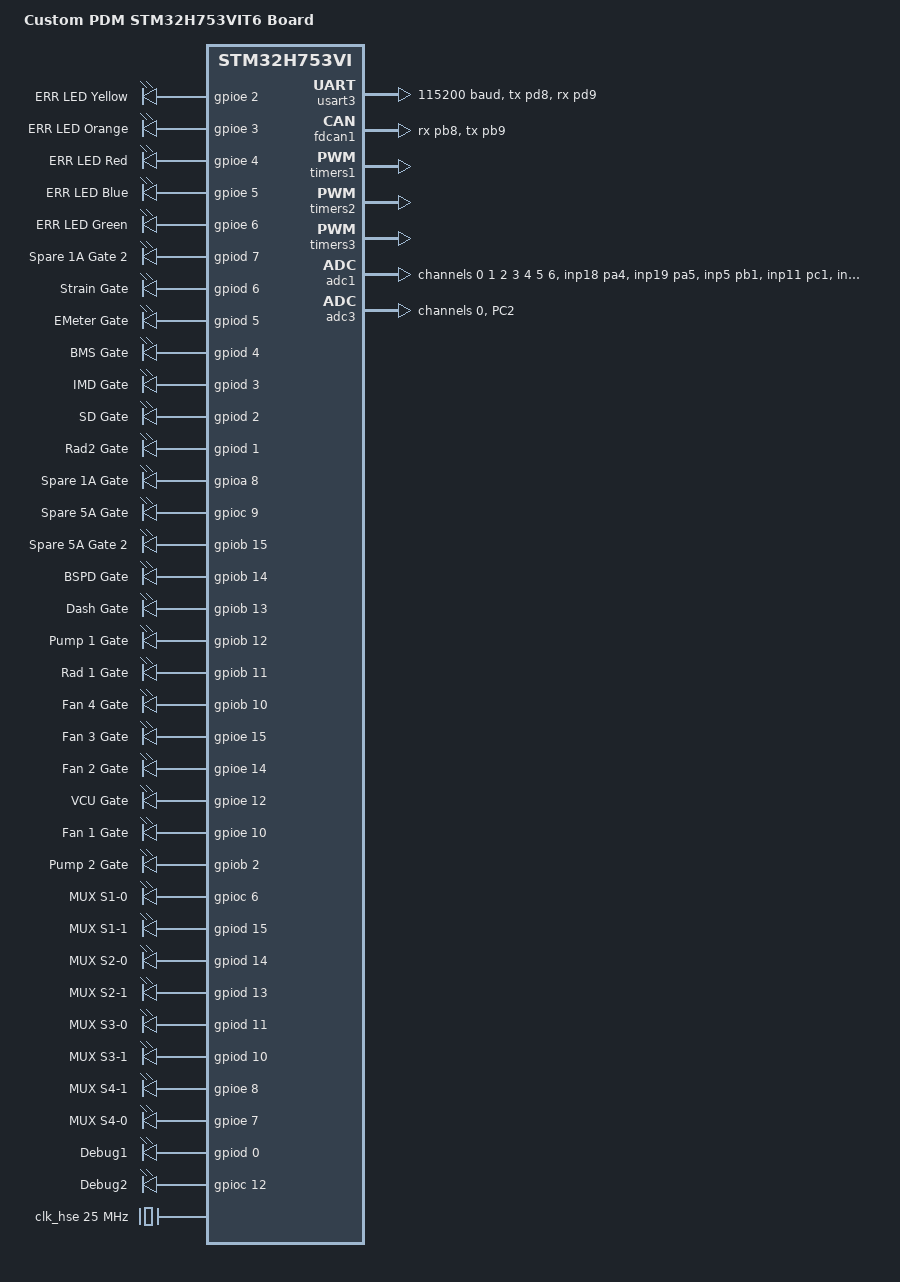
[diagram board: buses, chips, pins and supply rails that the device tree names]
/*
 * Copyright (c) 2025 PDM Team
 * SPDX-License-Identifier: Apache-2.0
 */

/dts-v1/;
#include <st/h7/stm32h753Xi.dtsi>
#include <st/h7/stm32h753zitx-pinctrl.dtsi>
#include <zephyr/dt-bindings/input/input-event-codes.h>

/ {
	model = "Custom PDM STM32H753VIT6 Board";
	compatible = "st,stm32h753vi";

	chosen {
		zephyr,console    = &usart3;
		zephyr,shell-uart = &usart3;
		zephyr,sram       = &sram0;
		zephyr,flash      = &flash0;
		zephyr,dtcm       = &dtcm;
		zephyr,canbus     = &fdcan1;
	};

	/* ------------------------------------------------------------------ */
	/* Status LEDs                                                          */
	/* ------------------------------------------------------------------ */
	leds {
		compatible = "gpio-leds";
		err_led_yellow: led_0 {
			gpios = <&gpioe 2 GPIO_ACTIVE_HIGH>;
			label = "ERR LED Yellow";
		};
		err_led_orange: led_1 {
			gpios = <&gpioe 3 GPIO_ACTIVE_HIGH>;
			label = "ERR LED Orange";
		};
		err_led_red: led_2 {
			gpios = <&gpioe 4 GPIO_ACTIVE_HIGH>;
			label = "ERR LED Red";
		};
		err_led_blue: led_3 {
			gpios = <&gpioe 5 GPIO_ACTIVE_HIGH>;
			label = "ERR LED Blue";
		};
		err_led_green: led_4 {
			gpios = <&gpioe 6 GPIO_ACTIVE_HIGH>;
			label = "ERR LED Green";
		};
	};

	/* ------------------------------------------------------------------ */
	/* Power Gate Outputs                                                   */
	/* ------------------------------------------------------------------ */
	power_gates {
		compatible = "gpio-leds";

		spare_1a_gate2: spare_1a_gate2 {
			gpios = <&gpiod 7 GPIO_ACTIVE_HIGH>;
			label = "Spare 1A Gate 2";
		};
		strain_gate: strain_gate {
			gpios = <&gpiod 6 GPIO_ACTIVE_HIGH>;
			label = "Strain Gate";
		};
		emeter_gate: emeter_gate {
			gpios = <&gpiod 5 GPIO_ACTIVE_HIGH>;
			label = "EMeter Gate";
		};
		bms_gate: bms_gate {
			gpios = <&gpiod 4 GPIO_ACTIVE_HIGH>;
			label = "BMS Gate";
		};
		imd_gate: imd_gate {
			gpios = <&gpiod 3 GPIO_ACTIVE_HIGH>;
			label = "IMD Gate";
		};
		sd_gate: sd_gate {
			gpios = <&gpiod 2 GPIO_ACTIVE_HIGH>;
			label = "SD Gate";
		};
		rad2_gate: rad2_gate {
			gpios = <&gpiod 1 GPIO_ACTIVE_HIGH>;
			label = "Rad2 Gate";
		};
		spare_1a_gate: spare_1a_gate {
			gpios = <&gpioa 8 GPIO_ACTIVE_HIGH>;
			label = "Spare 1A Gate";
		};
		spare_5a_gate: spare_5a_gate {
			gpios = <&gpioc 9 GPIO_ACTIVE_HIGH>;
			label = "Spare 5A Gate";
		};
		spare_5a_gate2: spare_5a_gate2 {
			gpios = <&gpiob 15 GPIO_ACTIVE_HIGH>;
			label = "Spare 5A Gate 2";
		};
		bspd_gate: bspd_gate {
			gpios = <&gpiob 14 GPIO_ACTIVE_HIGH>;
			label = "BSPD Gate";
		};
		dash_gate: dash_gate {
			gpios = <&gpiob 13 GPIO_ACTIVE_HIGH>;
			label = "Dash Gate";
		};
		pump1_gate: pump1_gate {
			gpios = <&gpiob 12 GPIO_ACTIVE_HIGH>;
			label = "Pump 1 Gate";
		};
		rad1_gate: rad1_gate {
			gpios = <&gpiob 11 GPIO_ACTIVE_HIGH>;
			label = "Rad 1 Gate";
		};
		fan4_gate: fan4_gate {
			gpios = <&gpiob 10 GPIO_ACTIVE_HIGH>;
			label = "Fan 4 Gate";
		};
		fan3_gate: fan3_gate {
			gpios = <&gpioe 15 GPIO_ACTIVE_HIGH>;
			label = "Fan 3 Gate";
		};
		fan2_gate: fan2_gate {
			gpios = <&gpioe 14 GPIO_ACTIVE_HIGH>;
			label = "Fan 2 Gate";
		};
		vcu_gate: vcu_gate {
			gpios = <&gpioe 12 GPIO_ACTIVE_HIGH>;
			label = "VCU Gate";
		};
		fan1_gate: fan1_gate {
			gpios = <&gpioe 10 GPIO_ACTIVE_HIGH>;
			label = "Fan 1 Gate";
		};
		pump2_gate: pump2_gate {
			gpios = <&gpiob 2 GPIO_ACTIVE_HIGH>;
			label = "Pump 2 Gate";
		};
	};

	/* ------------------------------------------------------------------ */
	/* Multiplexer Select Lines                                             */
	/* ------------------------------------------------------------------ */
	mux_selects {
		compatible = "gpio-leds";

		mux_s1_0: mux_s1_0 {
			gpios = <&gpioc 6 GPIO_ACTIVE_HIGH>;
			label = "MUX S1-0";
		};
		mux_s1_1: mux_s1_1 {
			gpios = <&gpiod 15 GPIO_ACTIVE_HIGH>;
			label = "MUX S1-1";
		};
		mux_s2_0: mux_s2_0 {
			gpios = <&gpiod 14 GPIO_ACTIVE_HIGH>;
			label = "MUX S2-0";
		};
		mux_s2_1: mux_s2_1 {
			gpios = <&gpiod 13 GPIO_ACTIVE_HIGH>;
			label = "MUX S2-1";
		};
		mux_s3_0: mux_s3_0 {
			gpios = <&gpiod 11 GPIO_ACTIVE_HIGH>;
			label = "MUX S3-0";
		};
		mux_s3_1: mux_s3_1 {
			gpios = <&gpiod 10 GPIO_ACTIVE_HIGH>;
			label = "MUX S3-1";
		};
		mux_s4_1: mux_s4_1 {
			gpios = <&gpioe 8 GPIO_ACTIVE_HIGH>;
			label = "MUX S4-1";
		};
		mux_s4_0: mux_s4_0 {
			gpios = <&gpioe 7 GPIO_ACTIVE_HIGH>;
			label = "MUX S4-0";
		};
	};

	/* ------------------------------------------------------------------ */
	/* Debug GPIOs                                                          */
	/* ------------------------------------------------------------------ */
	debug_signals {
		compatible = "gpio-leds";

		debug1: debug1 {
			gpios = <&gpiod 0 GPIO_ACTIVE_HIGH>;
			label = "Debug1";
		};
		debug2: debug2 {
			gpios = <&gpioc 12 GPIO_ACTIVE_HIGH>;
			label = "Debug2";
		};
	};

	/* ------------------------------------------------------------------ */
	/* Aliases                                                              */
	/* ------------------------------------------------------------------ */
	aliases {
		/* LEDs */
		led0 = &err_led_yellow;
		led1 = &err_led_orange;
		led2 = &err_led_red;
		led3 = &err_led_blue;
		led4 = &err_led_green;

		/* Gates */
		spare-1a-gate2  = &spare_1a_gate2;
		strain-gate     = &strain_gate;
		emeter-gate     = &emeter_gate;
		bms-gate        = &bms_gate;
		imd-gate        = &imd_gate;
		sd-gate         = &sd_gate;
		rad2-gate       = &rad2_gate;
		spare-1a-gate   = &spare_1a_gate;
		spare-5a-gate   = &spare_5a_gate;
		spare-5a-gate2  = &spare_5a_gate2;
		bspd-gate       = &bspd_gate;
		dash-gate       = &dash_gate;
		pump1-gate      = &pump1_gate;
		rad1-gate       = &rad1_gate;
		fan4-gate       = &fan4_gate;
		fan3-gate       = &fan3_gate;
		fan2-gate       = &fan2_gate;
		vcu-gate        = &vcu_gate;
		fan1-gate       = &fan1_gate;
		pump2-gate      = &pump2_gate;

		/* MUX selects */
		mux-s1-0 = &mux_s1_0;
		mux-s1-1 = &mux_s1_1;
		mux-s2-0 = &mux_s2_0;
		mux-s2-1 = &mux_s2_1;
		mux-s3-0 = &mux_s3_0;
		mux-s3-1 = &mux_s3_1;
		mux-s4-1 = &mux_s4_1;
		mux-s4-0 = &mux_s4_0;

		/* PWM */
		pwm-rad2   = &pwm1;  /* PE9  - TIM1_CH1 */
		pwm-pump1  = &pwm1;  /* PE11 - TIM1_CH2 */
		pwm-pump2  = &pwm1;  /* PE13 - TIM1_CH4 */
		pwm-fan1   = &pwm2;  /* PA0  - TIM2_CH1 */
		pwm-fan2   = &pwm2;  /* PA2  - TIM2_CH3 */
		pwm-fan3   = &pwm3;  /* PA6  - TIM3_CH1 */
		pwm-rad1   = &pwm3;  /* PA7  - TIM3_CH2 */
		pwm-fan4   = &pwm3;  /* PB0  - TIM3_CH3 */
	};
};

/* ====================================================================== */
/* Clocks                                                                  */
/* ====================================================================== */

/* External 25 MHz crystal on PH0 (OSC_IN) / PH1 (OSC_OUT) */
&clk_hse {
	clock-frequency = <DT_FREQ_M(25)>;
	status = "okay";
};

&pll {
	div-m = <5>;     /* 25 MHz / 5  =   5 MHz ref             */
	mul-n = <192>;   /*  5 MHz × 192 = 960 MHz VCO            */
	div-p = <2>;     /* 960 / 2 = 480 MHz (SYSCLK)            */
	div-q = <2>;     /* 960 / 2 = 480 MHz                     */
	div-r = <2>;     /* 960 / 2 = 480 MHz                     */
	clocks = <&clk_hse>;
	status = "okay";
};

&pll2 {
	div-m = <5>;     /* 25 MHz / 5  =   5 MHz ref             */
	mul-n = <80>;    /*  5 MHz × 80  = 400 MHz VCO            */
	div-p = <4>;     /* 400 / 4 = 100 MHz                     */
	div-q = <5>;     /* 400 / 5 =  80 MHz (FDCAN clock)       */
	div-r = <4>;     /* 400 / 4 = 100 MHz                     */
	clocks = <&clk_hse>;
	status = "okay";
};

&rcc {
	clocks = <&pll>;
	clock-frequency = <DT_FREQ_M(480)>;
	d1cpre  = <1>;
	hpre    = <2>;
	d1ppre  = <2>;
	d2ppre1 = <2>;
	d2ppre2 = <2>;
	d3ppre  = <2>;
};

/* ====================================================================== */
/* GPIO Ports                                                              */
/* ====================================================================== */

&gpioa { status = "okay"; };
&gpiob { status = "okay"; };
&gpioc { status = "okay"; };
&gpiod { status = "okay"; };
&gpioe { status = "okay"; };

/* ====================================================================== */
/* USART3  — PD8 TX / PD9 RX                                              */
/* ====================================================================== */

&usart3 {
	pinctrl-0 = <&usart3_tx_pd8 &usart3_rx_pd9>;
	pinctrl-names = "default";
	current-speed = <115200>;
	status = "okay";
};

/* ====================================================================== */
/* FDCAN1  — PB8 RX / PB9 TX                                              */
/* ====================================================================== */

&fdcan1 {
	clocks = <&rcc STM32_CLOCK_BUS_APB1_2 0x00000100>,
		 <&rcc STM32_SRC_PLL2_Q FDCAN_SEL(2)>;
	pinctrl-0 = <&fdcan1_rx_pb8 &fdcan1_tx_pb9>;
	pinctrl-names = "default";
	status = "okay";
};

/* ====================================================================== */
/* PWM                                                                     */
/* ====================================================================== */

/* TIM1 — Rad2 PWM (PE9/CH1), Pump1 PWM (PE11/CH2), Pump2 PWM (PE13/CH4) */
&timers1 {
	st,prescaler = <479>;  /* 480 MHz / 480 = 1 MHz timer clock */
	status = "okay";

	pwm1: pwm {
		pinctrl-0 = <&tim1_ch1_pe9 &tim1_ch2_pe11 &tim1_ch4_pe13>;
		pinctrl-names = "default";
		status = "okay";
	};
};

/* TIM2 — Fan1 PWM (PA0/CH1), Fan2 PWM (PA2/CH3) */
&timers2 {
	st,prescaler = <479>;
	status = "okay";

	pwm2: pwm {
		pinctrl-0 = <&tim2_ch1_pa0 &tim2_ch3_pa2>;
		pinctrl-names = "default";
		status = "okay";
	};
};

/* TIM3 — Fan3 PWM (PA6/CH1), Rad1 PWM (PA7/CH2), Fan4 PWM (PB0/CH3) */
&timers3 {
	st,prescaler = <479>;
	status = "okay";

	pwm3: pwm {
		pinctrl-0 = <&tim3_ch1_pa6 &tim3_ch2_pa7 &tim3_ch3_pb0>;
		pinctrl-names = "default";
		status = "okay";
	};
};

/* ====================================================================== */
/* ADC1/2 shared channels                                                  */
/*   PA4  — I_10A_Limit  (ADC12_INP18)                                    */
/*   PA5  — I_5A_Limit   (ADC12_INP19)                                    */
/*   PB1  — I_Pump2      (ADC12_INP5)                                     */
/*   PC1  — I_Rad1_Prot  (ADC123_INP11)                                   */
/*   PC4  — I_Pump1      (ADC12_INP4)                                      */
/*   PC5  — I_1a_Limit1  (ADC12_INP8)                                     */
/*   PC0  — I_1a_Limit2  (ADC123_INP10)                                     */
/* ====================================================================== */

&adc1 {
	pinctrl-0 = <&adc1_inp18_pa4
	             &adc1_inp19_pa5
	             &adc1_inp5_pb1
	             &adc1_inp11_pc1
	             &adc1_inp4_pc4
	             &adc1_inp8_pc5
				 &adc1_inp10_pc0>;
	pinctrl-names = "default";
	st,adc-clock-source = "SYNC";
	st,adc-prescaler = <4>;
	vref-mv = <3300>;
	status = "okay";

	#address-cells = <1>;
	#size-cells = <0>;

	channel@0 {
		reg = <0>;
		zephyr,gain             = "ADC_GAIN_1";
		zephyr,reference        = "ADC_REF_VDD_1";
		zephyr,acquisition-time = <ADC_ACQ_TIME_DEFAULT>;
		zephyr,resolution       = <12>;
		zephyr,input-positive   = <18>;  /* PA4 - I_10A_Limit - INP18 */
	};

	channel@1 {
		reg = <1>;
		zephyr,gain             = "ADC_GAIN_1";
		zephyr,reference        = "ADC_REF_VDD_1";
		zephyr,acquisition-time = <ADC_ACQ_TIME_DEFAULT>;
		zephyr,resolution       = <12>;
		zephyr,input-positive   = <19>;  /* PA5 - I_5A_Limit  - INP19 */
	};

	channel@2 {
		reg = <2>;
		zephyr,gain             = "ADC_GAIN_1";
		zephyr,reference        = "ADC_REF_VDD_1";
		zephyr,acquisition-time = <ADC_ACQ_TIME_DEFAULT>;
		zephyr,resolution       = <12>;
		zephyr,input-positive   = <5>;   /* PB1 - I_Pump2     - INP5  */
	};

	channel@3 {
		reg = <3>;
		zephyr,gain             = "ADC_GAIN_1";
		zephyr,reference        = "ADC_REF_VDD_1";
		zephyr,acquisition-time = <ADC_ACQ_TIME_DEFAULT>;
		zephyr,resolution       = <12>;
		zephyr,input-positive   = <11>;  /* PC1 - I_Rad1_Prot - INP11 */
	};

	channel@4 {
		reg = <4>;
		zephyr,gain             = "ADC_GAIN_1";
		zephyr,reference        = "ADC_REF_VDD_1";
		zephyr,acquisition-time = <ADC_ACQ_TIME_DEFAULT>;
		zephyr,resolution       = <12>;
		zephyr,input-positive   = <4>;   /* PC4 - I_Pump1     - INP4  */
	};

	channel@5 {
		reg = <5>;
		zephyr,gain             = "ADC_GAIN_1";
		zephyr,reference        = "ADC_REF_VDD_1";
		zephyr,acquisition-time = <ADC_ACQ_TIME_DEFAULT>;
		zephyr,resolution       = <12>;
		zephyr,input-positive   = <8>;   /* PC5 - I_1a_Limit1 - INP8  */
	};

	channel@6 {
		reg = <6>;
		zephyr,gain             = "ADC_GAIN_1";
		zephyr,reference        = "ADC_REF_VDD_1";
		zephyr,acquisition-time = <ADC_ACQ_TIME_DEFAULT>;
		zephyr,resolution       = <12>;
		zephyr,input-positive   = <8>;   /* PC0 - I_1a_Limit2 - INP10  */
	};
};

/* ====================================================================== */
/* ADC3                                                                    */
/*   PC2_C — I_Rad2_Prot (ADC3_INP0)                                      */
/* ====================================================================== */

&adc3 {
	pinctrl-0 = <&adc3_inp0_pc2c>;
	pinctrl-names = "default";
	st,adc-clock-source = "SYNC";
	st,adc-prescaler = <4>;
	vref-mv = <3300>;
	status = "okay";

	#address-cells = <1>;
	#size-cells = <0>;

	channel@0 {
		reg = <0>;
		zephyr,gain             = "ADC_GAIN_1";
		zephyr,reference        = "ADC_REF_VDD_1";
		zephyr,acquisition-time = <ADC_ACQ_TIME_DEFAULT>;
		zephyr,resolution       = <16>;  /* ADC3 supports 16-bit on H7 */
		zephyr,input-positive   = <0>;   /* PC2_C - I_Rad2_Prot - INP0 */
	};
};

/* ====================================================================== */
/* Custom pinctrl entries                                                  */
/*                                                                         */
/* ADC (ANALOG) and PWM (AF) pins not present in the included pinctrl     */
/* dtsi are defined here.  PWM alternate functions for STM32H753:         */
/*   TIM1 → AF1,  TIM2 → AF1,  TIM3 → AF2                                */
/* ====================================================================== */

&pinctrl {

	/* --- ADC1 --------------------------------------------------------- */
	adc1_inp18_pa4: adc1_inp18_pa4 {
		pinmux = <STM32_PINMUX('A', 4, ANALOG)>;
	};
	adc1_inp19_pa5: adc1_inp19_pa5 {
		pinmux = <STM32_PINMUX('A', 5, ANALOG)>;
	};
	adc1_inp5_pb1: adc1_inp5_pb1 {
		pinmux = <STM32_PINMUX('B', 1, ANALOG)>;
	};
	adc1_inp11_pc1: adc1_inp11_pc1 {
		pinmux = <STM32_PINMUX('C', 1, ANALOG)>;
	};
	adc1_inp4_pc4: adc1_inp4_pc4 {
		pinmux = <STM32_PINMUX('C', 4, ANALOG)>;
	};
	adc1_inp8_pc5: adc1_inp8_pc5 {
		pinmux = <STM32_PINMUX('C', 5, ANALOG)>;
	};
	adc1_inp10_pc0: adc1_inp10_pc0 {
		pinmux = <STM32_PINMUX('C', 0, ANALOG)>;
	};

	/* --- ADC3 --------------------------------------------------------- */
	/* PC2_C is the direct analog pad (no GPIO mux required)              */
	adc3_inp0_pc2c: adc3_inp0_pc2c {
		pinmux = <STM32_PINMUX('C', 2, ANALOG)>;
	};

	/* --- TIM1 (AF1) --------------------------------------------------- */
	tim1_ch1_pe9: tim1_ch1_pe9 {
		pinmux = <STM32_PINMUX('E', 9, AF1)>;
		slew-rate = "very-high-speed";
	};
	tim1_ch2_pe11: tim1_ch2_pe11 {
		pinmux = <STM32_PINMUX('E', 11, AF1)>;
		slew-rate = "very-high-speed";
	};
	tim1_ch4_pe13: tim1_ch4_pe13 {
		pinmux = <STM32_PINMUX('E', 13, AF1)>;
		slew-rate = "very-high-speed";
	};

	/* --- TIM2 (AF1) --------------------------------------------------- */
	tim2_ch1_pa0: tim2_ch1_pa0 {
		pinmux = <STM32_PINMUX('A', 0, AF1)>;
		slew-rate = "very-high-speed";
	};
	tim2_ch3_pa2: tim2_ch3_pa2 {
		pinmux = <STM32_PINMUX('A', 2, AF1)>;
		slew-rate = "very-high-speed";
	};

	/* --- TIM3 (AF2) --------------------------------------------------- */
	tim3_ch1_pa6: tim3_ch1_pa6 {
		pinmux = <STM32_PINMUX('A', 6, AF2)>;
		slew-rate = "very-high-speed";
	};
	tim3_ch2_pa7: tim3_ch2_pa7 {
		pinmux = <STM32_PINMUX('A', 7, AF2)>;
		slew-rate = "very-high-speed";
	};
	tim3_ch3_pb0: tim3_ch3_pb0 {
		pinmux = <STM32_PINMUX('B', 0, AF2)>;
		slew-rate = "very-high-speed";
	};
};

/* ====================================================================== */
/* Flash partitions                                                        */
/* ====================================================================== */

&flash0 {
	partitions {
		compatible = "fixed-partitions";
		#address-cells = <1>;
		#size-cells = <1>;

		boot_partition: partition@0 {
			label = "mcuboot";
			reg = <0x00000000 DT_SIZE_K(128)>;
		};
		slot0_partition: partition@20000 {
			label = "image-0";
			reg = <0x00020000 DT_SIZE_K(448)>;
		};
		slot1_partition: partition@90000 {
			label = "image-1";
			reg = <0x00090000 DT_SIZE_K(448)>;
		};
		storage_partition: partition@100000 {
			label = "storage";
			reg = <0x00100000 DT_SIZE_K(1024)>;
		};
	};
};
